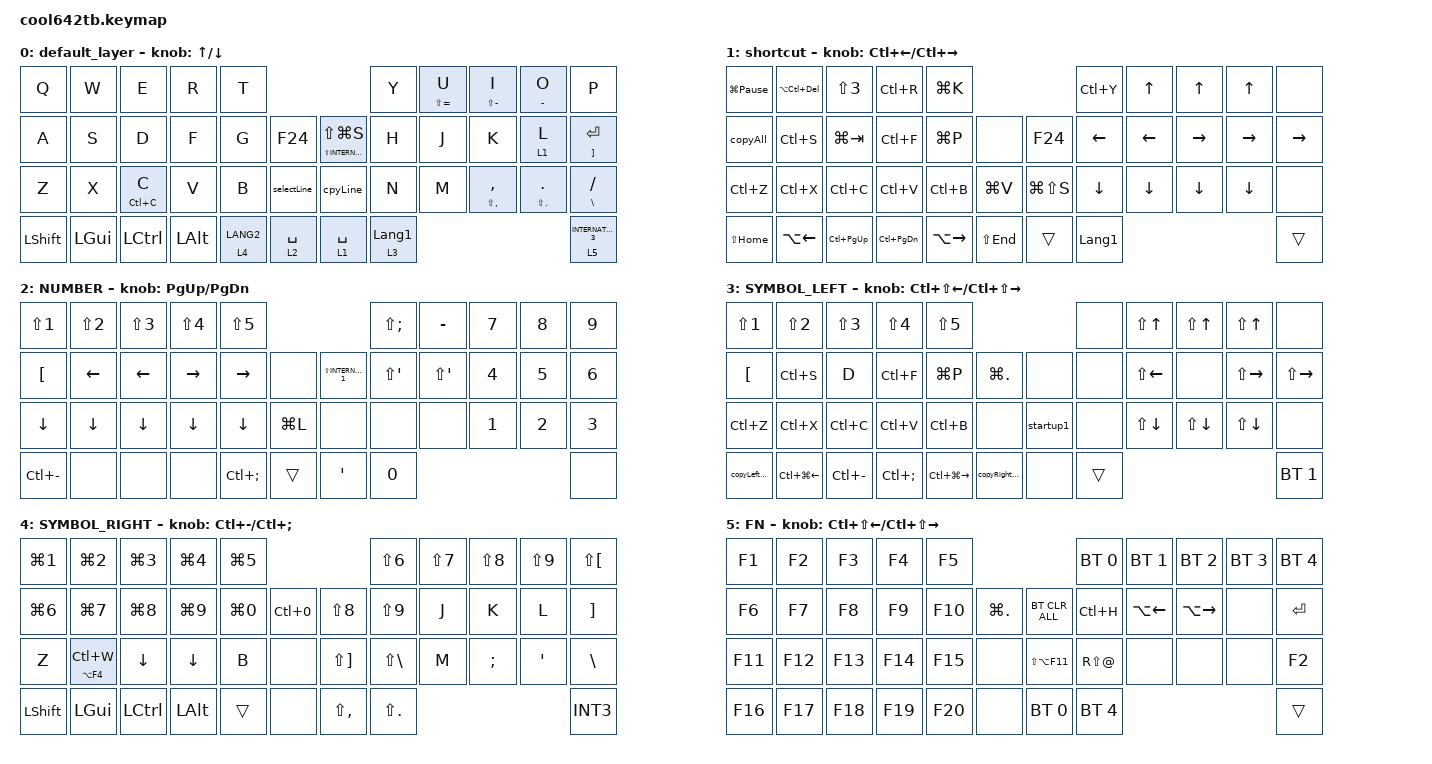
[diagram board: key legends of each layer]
#include <behaviors.dtsi>
#include <dt-bindings/zmk/bt.h>
#include <dt-bindings/zmk/keys.h>
#include <dt-bindings/zmk/pointing.h>

#define ZMK_MOUSE_DEFAULT_SCRL_VAL 100
#define MOUSE 4
#define SCROLL 5
#define NUM 6

&mt {
    flavor = "balanced";
    quick-tap-ms = <0>;
};

/ {
    combos {
        compatible = "zmk,combos";

        tab {
            bindings = <&kp TAB>;
            key-positions = <11 12>;
        };

        esc {
            bindings = <&kp LS(ESCAPE)>;
            key-positions = <1 2>;
        };

        caps_lock {
            bindings = <&kp LS(CAPSLOCK)>;
            key-positions = <23 24>;
        };

        bs {
            bindings = <&kp BACKSPACE>;
            key-positions = <8 7>;
        };

        down1 {
            bindings = <&kp DOWN_ARROW>;
            key-positions = <34 35 36>;
        };

        down2 {
            bindings = <&kp DOWN_ARROW>;
            key-positions = <35 36 37>;
        };

        down3 {
            bindings = <&kp DOWN_ARROW>;
            key-positions = <36 37 38>;
        };

        down4 {
            bindings = <&kp DOWN_ARROW>;
            key-positions = <37 38 39>;
        };

        down5 {
            bindings = <&kp DOWN_ARROW>;
            key-positions = <28 29 30>;
        };

        down6 {
            bindings = <&kp DOWN_ARROW>;
            key-positions = <29 30 31>;
        };

        down7 {
            bindings = <&kp DOWN_ARROW>;
            key-positions = <30 32 31>;
        };

        down8 {
            bindings = <&kp DOWN_ARROW>;
            key-positions = <32 31 33>;
        };

        up1 {
            bindings = <&kp UP_ARROW>;
            key-positions = <0 1 2>;
        };

        up2 {
            bindings = <&kp UP_ARROW>;
            key-positions = <1 2 3>;
        };

        up3 {
            bindings = <&kp UP_ARROW>;
            key-positions = <2 3 4>;
        };

        up4 {
            bindings = <&kp UP_ARROW>;
            key-positions = <5 6 7>;
        };

        up5 {
            bindings = <&kp UP_ARROW>;
            key-positions = <6 7 8>;
        };

        delete {
            bindings = <&kp DEL>;
            key-positions = <7 8 9>;
        };

        space {
            bindings = <&kp SPACE>;
            key-positions = <41 40>;
        };

        undo {
            bindings = <&kp LC(Z)>;
            key-positions = <22 23>;
        };

        redo {
            bindings = <&kp LC(Y)>;
            key-positions = <5 6>;
        };

        click_l {
            bindings = <&mkp MB1>;
            key-positions = <19 18>;
        };

        click_r {
            bindings = <&mkp MB2>;
            key-positions = <19 20>;
        };

        rightEsc {
            bindings = <&kp LS(ESC)>;
            key-positions = <8 9>;
        };

        rightTab {
            bindings = <&kp TAB>;
            key-positions = <20 21>;
        };

        rightCapsLock {
            bindings = <&kp LS(CAPS)>;
            key-positions = <32 33>;
        };
    };

    behaviors {
        scroll_up_down: behavior_sensor_rotate_mouse_wheel_up_down {
            compatible = "zmk,behavior-sensor-rotate";
            #sensor-binding-cells = <0>;
            bindings = <&msc SCRL_UP>, <&msc SCRL_DOWN>;

            tap-ms = <20>;
        };
    };

    // エンコーダー：キー

    rot_kp: sensor_rotate_kp {
        compatible = "zmk,behavior-sensor-rotate-var";
        #sensor-binding-cells = <2>;
        bindings = <&kp>, <&kp>;
    };

    // エンコーダー：マウススクロール 

    rot_msc: sensor_rotate_msc {
        compatible = "zmk,behavior-sensor-rotate-var";
        #sensor-binding-cells = <2>;
        tap-ms = <20>;
        bindings = <&msc>, <&msc>;
    };

    // エンコーダー：マウススクロール(MOVE_Y)

    scroll_move_y: sensor_rotate_msc_for_move_y {
        compatible = "zmk,behavior-sensor-rotate";
        #sensor-binding-cells = <0>;
        bindings = <&msc MOVE_Y(20)>, <&msc MOVE_Y(-20)>;

        // tap-ms下限メモ Yの値で可変: Y(15) <81>, Y(20) <65>, Y(25) <49>

        tap-ms = <65>;
    };

    // エンコーダー：マウススクロール(MOVE_X)

    scroll_move_x: sensor_rotate_msc_for_move_x {
        compatible = "zmk,behavior-sensor-rotate";
        #sensor-binding-cells = <0>;
        bindings = <&msc MOVE_X(20)>, <&msc MOVE_X(-20)>;

        // tap-ms下限メモ Xの値で可変: X(15) <81>, X(20) <65>, X(25) <49>

        tap-ms = <65>;
    };

    macros {
        copyAll: all_copy {
            compatible = "zmk,behavior-macro";
            #binding-cells = <0>;
            bindings = <&kp LC(A) &kp LC(C)>;
            label = "ALL_COPY";
        };

        parn: parn {
            compatible = "zmk,behavior-macro";
            #binding-cells = <0>;
            bindings = <&kp LS(N8) &kp LS(N9) &kp LEFT_ARROW>;
            label = "PARN";
        };

        brac: brac {
            compatible = "zmk,behavior-macro";
            #binding-cells = <0>;
            bindings = <&kp LS(RBKT) &kp LS(BACKSLASH) &kp LEFT_ARROW>;
            label = "BRAC";
        };

        angle: angle {
            compatible = "zmk,behavior-macro";
            #binding-cells = <0>;
            bindings = <&kp LS(COMMA) &kp LS(PERIOD) &kp LEFT_ARROW>;
            label = "ANGLE";
        };

        quotDouble: quot_double {
            compatible = "zmk,behavior-macro";
            #binding-cells = <0>;
            bindings = <&kp LS(N2) &kp LS(N2) &kp LEFT_ARROW>;
            label = "QUOT_DOUBLE";
        };

        quotSingle: quot_single {
            compatible = "zmk,behavior-macro";
            #binding-cells = <0>;
            bindings = <&kp LS(N7) &kp LS(N7) &kp LEFT_ARROW>;
            label = "QUOT_SINGLE";
        };

        quotBack: quot_back {
            compatible = "zmk,behavior-macro";
            #binding-cells = <0>;
            bindings = <&kp LS(LEFT_BRACKET) &kp LS(LEFT_BRACKET) &kp LEFT_ARROW>;
            label = "QUOT_BACK";
        };

        reloadVscode: vscode_reload {
            compatible = "zmk,behavior-macro";
            #binding-cells = <0>;
            bindings = <&kp LC(LS(P)) &kp R &kp E &kp L &kp O &kp A &kp D &kp SPACE &kp W &kp I &kp N &kp D &kp O &kp W &kp RET>;
            label = "VSCODE_RELOAD";
        };

        cpyLine: line_cpy {
            compatible = "zmk,behavior-macro";
            #binding-cells = <0>;
            bindings = <&kp HOME &kp LSHIFT &kp LS(END) &kp LC(C)>;
            label = "LINE_CPY";
        };

        thino: thino {
            compatible = "zmk,behavior-macro";
            #binding-cells = <0>;
            bindings = <&kp LG(N7) &kp LA(LC(F10))>;
            label = "THINO";
        };

        pasteDate: datePaste {
            compatible = "zmk,behavior-macro";
            #binding-cells = <0>;
            bindings = <&kp LC(LA(LS(D))) &kp LC(V)>;
            label = "DATEPASTE";
            wait-ms = <250>;
        };

        startup1: startup {
            compatible = "zmk,behavior-macro";
            #binding-cells = <0>;
            bindings = <&kp LG(N1) &kp LG(N6) &kp LG(N7) &kp LG(N8)>;
            label = "STARTUP";
            wait-ms = <400>;
        };

        copyRight: copyRight {
            compatible = "zmk,behavior-macro";
            #binding-cells = <0>;
            bindings = <&kp LS(RIGHT_ARROW) &kp LC(C)>;
            label = "COPYRIGHT";
        };

        copyLeft: copyLeft {
            compatible = "zmk,behavior-macro";
            #binding-cells = <0>;
            bindings = <&kp LS(LEFT_ARROW) &kp LC(C)>;
            label = "COPYLEFT";
        };

        copyRightWord: copyRightWord {
            compatible = "zmk,behavior-macro";
            #binding-cells = <0>;
            bindings = <&kp LS(LC(RIGHT_ARROW)) &kp LC(C)>;
            label = "COPYRIGHTWORD";
        };

        copyLeftWord: copyLeftWord {
            compatible = "zmk,behavior-macro";
            #binding-cells = <0>;
            bindings = <&kp LS(LC(LEFT_ARROW)) &kp LC(C)>;
            label = "COPYLEFTWORD";
        };

        selectLine: line_select {
            compatible = "zmk,behavior-macro";
            #binding-cells = <0>;
            bindings = <&kp HOME &kp LSHIFT &kp LS(END)>;
            label = "LINE_SELECT";
        };
    };

    keymap {
        compatible = "zmk,keymap";

        default_layer {
            bindings = <
&kp Q           &kp W     &kp E        &kp R         &kp T                                                        &kp Y             &mt LS(EQUAL) U  &mt LS(MINUS) I      &mt MINUS O            &kp P
&kp A           &kp S     &kp D        &kp F         &kp G        &kp F24      &mt LS(INTERNATIONAL_1) LS(LG(S))  &kp H             &kp J            &kp K                &lt 1 L                &mt RBKT ENTER
&kp Z           &kp X     &mt LC(C) C  &kp V         &kp B        &selectLine  &cpyLine                           &kp N             &kp M            &mt LS(COMMA) COMMA  &mt LS(PERIOD) PERIOD  &mt BSLH FSLH
&kp LEFT_SHIFT  &kp LGUI  &kp LCTRL    &kp LEFT_ALT  &lt 4 LANG2  &lt 2 SPACE  &lt 1 SPACE                        &lt 3 LANGUAGE_1                                                               &lt 5 INTERNATIONAL_3
            >;

            sensor-bindings = <&inc_dec_kp UP_ARROW DOWN_ARROW>;
        };

        shortcut {
            bindings = <
&kp LG(PAUSE_BREAK)  &kp LA(LC(DELETE))  &kp LS(N3)       &kp LC(R)          &kp LG(K)                                        &kp LC(Y)       &kp UP_ARROW    &kp UP_ARROW     &kp UP_ARROW     &none
&copyAll             &kp LC(S)           &kp LG(TAB)      &kp LC(F)          &kp LG(P)            &none        &kp F24        &kp LEFT_ARROW  &kp LEFT_ARROW  &kp RIGHT_ARROW  &kp RIGHT_ARROW  &kp RIGHT_ARROW
&kp LC(Z)            &kp LC(X)           &kp LC(C)        &kp LC(V)          &kp LC(B)            &kp LG(V)    &kp LG(LS(S))  &kp DOWN_ARROW  &kp DOWN_ARROW  &kp DOWN_ARROW   &kp DOWN_ARROW   &none
&kp LS(HOME)         &kp LA(LEFT_ARROW)  &kp LC(PAGE_UP)  &kp LC(PAGE_DOWN)  &kp LA(RIGHT_ARROW)  &kp LS(END)  &trans         &kp LANGUAGE_1                                                    &trans
            >;

            sensor-bindings = <&inc_dec_kp LC(LEFT_ARROW) LC(RIGHT)>;
        };

        NUMBER {
            bindings = <
&kp LS(N1)      &kp LS(N2)      &kp LS(N3)      &kp LS(N4)       &kp LS(N5)                                           &kp LS(SEMI)          &kp MINUS    &kp N7        &kp N8  &kp N9
&kp LBKT        &kp LEFT_ARROW  &kp LEFT_ARROW  &kp RIGHT_ARROW  &kp RIGHT_ARROW  &none      &kp LS(INTERNATIONAL_1)  &kp LS(SINGLE_QUOTE)  &kp LS(SQT)  &kp N4        &kp N5  &kp N6
&kp DOWN_ARROW  &kp DOWN_ARROW  &kp DOWN_ARROW  &kp DOWN_ARROW   &kp DOWN_ARROW   &kp LG(L)  &none                    &none                 &none        &kp NUMBER_1  &kp N2  &kp N3
&kp LC(MINUS)   &none           &none           &none            &kp LC(SEMI)     &trans     &kp SINGLE_QUOTE         &kp N0                                                   &none
            >;

            sensor-bindings = <&inc_dec_kp PAGE_UP PAGE_DOWN>;
        };

        SYMBOL_LEFT {
            bindings = <
&kp LS(NUMBER_1)  &kp LS(N2)              &kp LS(NUMBER_3)  &kp LS(NUMBER_4)  &kp LS(NUMBER_5)                                    &none   &kp LS(UP_ARROW)    &kp LS(UP_ARROW)    &kp LS(UP_ARROW)     &none
&kp LBKT          &kp LC(S)               &kp D             &kp LC(F)         &kp LG(P)                &kp LG(PERIOD)  &none      &none   &kp LS(LEFT_ARROW)  &none               &kp LS(RIGHT_ARROW)  &kp LS(RIGHT_ARROW)
&kp LC(Z)         &kp LC(X)               &kp LC(C)         &kp LC(V)         &kp LC(B)                &none           &startup1  &none   &kp LS(DOWN_ARROW)  &kp LS(DOWN_ARROW)  &kp LS(DOWN_ARROW)   &none
&copyLeftWord     &kp LC(LG(LEFT_ARROW))  &kp LC(MINUS)     &kp LC(SEMI)      &kp LC(LG(RIGHT_ARROW))  &copyRightWord  &none      &trans                                                               &bt BT_SEL 1
            >;

            sensor-bindings = <&inc_dec_kp LC(LS(LEFT_ARROW)) LC(LS(RIGHT_ARROW))>;
        };

        SYMBOL_RIGHT {
            bindings = <
&kp LG(N1)      &kp LG(N2)        &kp LG(N3)        &kp LG(N4)      &kp LG(N5)                             &kp LS(N6)         &kp LS(N7)  &kp LS(N8)     &kp LS(N9)        &kp LS(LBKT)
&kp LG(N6)      &kp LG(N7)        &kp LG(N8)        &kp LG(N9)      &kp LG(N0)  &kp LC(N0)  &kp LS(N8)     &kp LS(N9)         &kp J       &kp K          &kp L             &kp RBKT
&kp Z           &mt LA(F4) LC(W)  &kp DOWN_ARROW    &kp DOWN_ARROW  &kp B       &none       &kp LS(RBKT)   &kp LS(BACKSLASH)  &kp M       &kp SEMICOLON  &kp SINGLE_QUOTE  &kp BACKSLASH
&kp LEFT_SHIFT  &kp LEFT_GUI      &kp LEFT_CONTROL  &kp LEFT_ALT    &trans      &none       &kp LS(COMMA)  &kp LS(PERIOD)                                                  &kp INT3
            >;

            sensor-bindings = <&inc_dec_kp LC(MINUS) LC(SEMI)>;
        };

        FN {
            bindings = <
&kp F1   &kp F2   &kp F3   &kp F4   &kp F5                                    &bt BT_SEL 0  &bt BT_SEL 1        &bt BT_SEL 2         &bt BT_SEL 3  &bt BT_SEL 4
&kp F6   &kp F7   &kp F8   &kp F9   &kp F10  &kp LG(PERIOD)  &bt BT_CLR_ALL   &kp LC(H)     &kp LA(LEFT_ARROW)  &kp LA(RIGHT_ARROW)  &none         &kp ENTER
&kp F11  &kp F12  &kp F13  &kp F14  &kp F15  &none           &kp LS(LA(F11))  &kp RS(AT)    &none               &none                &none         &kp F2
&kp F16  &kp F17  &kp F18  &kp F19  &kp F20  &none           &bt BT_SEL 0     &bt BT_SEL 4                                                         &trans
            >;

            sensor-bindings = <&inc_dec_kp LC(LS(LEFT_ARROW)) LC(LS(RIGHT_ARROW))>;
        };
    };
};

&left_encoder { resolution = <4>; };

&right_encoder { resolution = <4>; };

/ {
    behaviors {
    };
};

/* 左右のエンコーダーにこの低速設定を適用 */

&left_encoder { resolution = <2>; };

&right_encoder { resolution = <2>; };

/* 解像度を 4 に上げ、反応をさらに鈍くします */

&left_encoder { resolution = <4>; };

&right_encoder { resolution = <4>; };

/* 1回の入力が確実に「1回分」として認識されるよう、信号の間隔をさらに広げます */

&left_encoder { resolution = <16>; };

&right_encoder { resolution = <16>; };
